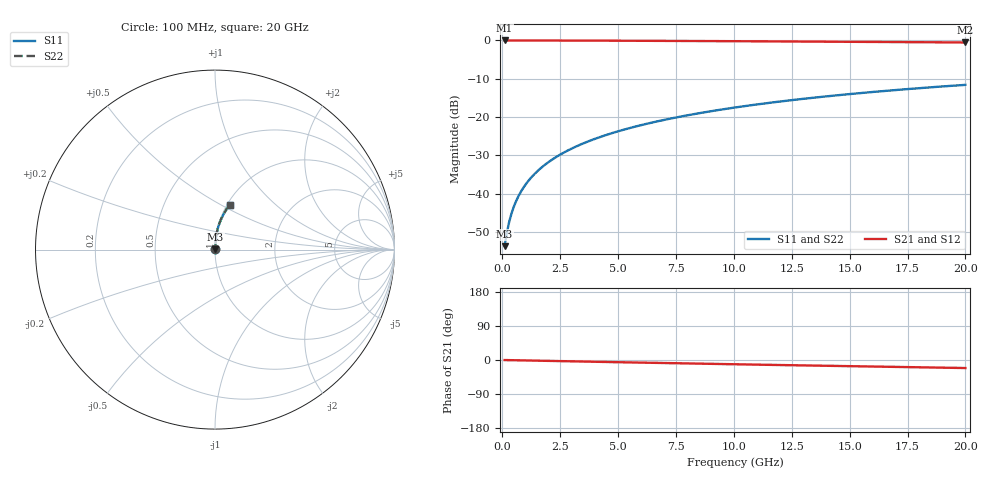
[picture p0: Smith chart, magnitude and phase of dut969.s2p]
! Touchstone file exported from HFSS 2024.1.0
!  File:  C:/UserFiles/LocalFiles/RDL_TSV_Batchsim/temp_RDL_bottom_969_1779942963.aedt
!  Generated:  12:39:02 PM May 28, 2026
!  Design:  RDL_bottom
!  Project:  temp_RDL_bottom_969_1779942963
!  Setup:  Setup1
!  Solution:  Sweep
! Variables:
!  dtsv = 10.80580581um
!  hbump = 3um
!  htsv = 99.93um
!  ldown = 228.08um
!  lrdl = 100um
!  p = 40
!  p1 = 56.48um
!  rhole = 1um
!  t = 450um
!  tdown = 3.52um
!  trdl = 3.915915916um
!  wdown = 16.61um
!  wrdl = 20um
# GHz S MA R 50.000000
! Terminal data exported
! Port[1] = RDL1_T1
! Port[2] = RDL1_T2
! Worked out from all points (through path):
!   200 points, 100 MHz to 20 GHz, reference 50 ohm
!   highest |S21| = -0.01 dB at 100 MHz (marker M1); lowest = -0.5 dB at 20 GHz (marker M2)
!   group delay of S21, straight-line fit = 2.93 ps
!   lowest |S11| = -53.7 dB at 100 MHz (marker M3), VSWR 1.00, Z = 50.2 + j0.135 ohm
!   |S11| at or under -10 dB: start of sweep to end of sweep
!   |S22| runs from -53.7 to -11.6 dB; largest |S21 - S12| = 3.5e-15
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0.1  0.002062 40.7  0.9984 -0.1  0.9984 -0.1  0.002062 40.7
! Gamma 0 0 0 0
! Port Impedance 50 0 50 0
0.2  0.003117 59.1  0.9984 -0.2  0.9984 -0.2  0.003117 59.1
0.3  0.004312 67.5  0.9983 -0.4  0.9983 -0.4  0.004312 67.5
0.4  0.005543 72.1  0.9983 -0.5  0.9983 -0.5  0.005543 72.1
0.5  0.006786 75.1  0.9982 -0.6  0.9982 -0.6  0.006786 75.1
0.6  0.008035 77.2  0.9981 -0.7  0.9981 -0.7  0.008035 77.2
0.8  0.01055 79.9  0.998 -1.0  0.998 -1.0  0.01055 79.9
1.1  0.01434 82.2  0.9978 -1.3  0.9978 -1.3  0.01434 82.2
1.5  0.01944 83.8  0.9975 -1.8  0.9975 -1.8  0.01944 83.8
1.8  0.02329 84.5  0.9972 -2.1  0.9972 -2.1  0.02329 84.5
2.1  0.02715 85.0  0.9968 -2.5  0.9968 -2.5  0.02715 85.0
2.7  0.0349 85.5  0.996 -3.2  0.996 -3.2  0.0349 85.5
3.5  0.04532 85.6  0.9946 -4.1  0.9946 -4.1  0.04532 85.6
4.2  0.05451 85.5  0.9932 -4.9  0.9932 -4.9  0.05452 85.6
5  0.0651 85.3  0.9913 -5.8  0.9913 -5.8  0.0651 85.3
5.9  0.0771 84.8  0.989 -6.8  0.989 -6.8  0.0771 84.8
6.8  0.08918 84.2  0.9865 -7.8  0.9865 -7.8  0.08919 84.2
8.3  0.1094 83.1  0.9821 -9.4  0.9821 -9.4  0.1094 83.1
10.1  0.1338 81.5  0.9763 -11.3  0.9763 -11.3  0.1338 81.5
13.4  0.1782 78.3  0.965 -14.7  0.965 -14.7  0.1782 78.3
16.7  0.2214 75.0  0.9528 -18.0  0.9528 -18.0  0.2214 75.0
20  0.2629 71.6  0.9397 -21.2  0.9397 -21.2  0.2629 71.6
